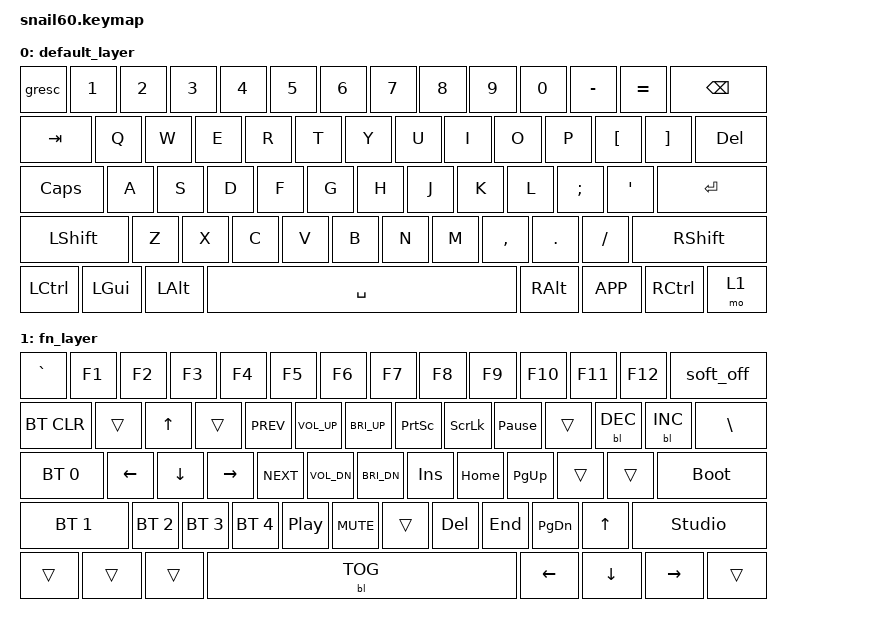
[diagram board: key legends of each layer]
/*
 * Copyright (c) 2021 Nick Winans
 *
 * SPDX-License-Identifier: MIT
 */

#define ZMK_BEHAVIORS_KEEP_ALL

#include <behaviors.dtsi>
#include <dt-bindings/zmk/keys.h>
#include <dt-bindings/zmk/bt.h>
#include <dt-bindings/zmk/backlight.h> // 必须包含这个头灯

/ {
    keymap {
        compatible = "zmk,keymap";
    // 第 0 层：基础层
        default_layer {
            // ------------------------------------------------------------------------------------------
            // | ESC |  1  |  2  |  3  |  4  |  5  |  6  |  7  |  8  |  9  |  0  |  -  |  =  |   BSPC   |
            // | TAB  |  Q  |  W  |  E  |  R  |  T  |  Y  |  U  |  I  |  O  |  P  |  [  |  ]  |   "|"   |
            // | CAPS  |  A  |  S  |  D  |  F  |  G  |  H  |  J  |  K  |  L  |  ;  |  '  |     ENTER    |
            // |  SHIFT  |  Z  |  X  |  C  |  V  |  B  |  N  |  M  |  ,  |  .  |  /  |      SHIFT       |
            // |  CTL  |  WIN  |  ALT  |            SPACE              |  ALT  |  MENU |  CTL |  MO(1)  |
            // ------------------------------------------------------------------------------------------
            bindings = <
                &gresc    &kp N1   &kp N2   &kp N3 &kp N4 &kp N5 &kp N6 &kp N7 &kp N8    &kp N9   &kp N0   &kp MINUS &kp EQUAL &kp BSPC
                &kp TAB   &kp Q    &kp W    &kp E  &kp R  &kp T  &kp Y  &kp U  &kp I     &kp O    &kp P    &kp LBKT  &kp RBKT  &kp DEL 
                &kp CLCK  &kp A    &kp S    &kp D  &kp F  &kp G  &kp H  &kp J  &kp K     &kp L    &kp SEMI &kp SQT             &kp RET
                &kp LSHFT &kp Z    &kp X    &kp C  &kp V  &kp B  &kp N  &kp M  &kp COMMA &kp DOT  &kp FSLH                     &kp RSHFT
                &kp LCTRL &kp LGUI &kp LALT             &kp SPACE                        &kp RALT &kp K_APP          &kp RCTRL &mo 1
            >;
        };

        // 第 1 层：Fn 功能层
        fn_layer {
            // ------------------------------------------------------------------------------------------------
            // |  ` ~   |  F1  |  F2  |  F3  |  F4  |  F5  |  F6  |  F7  |  F8  |  F9  |  F10 |  F11 |  F12 | SOFT OFF |
            // | BT CLR |      |  UP  |      | PREV | VOL+ | BRI+ |PSCRN | SLCK |PAUSE |      |      |      | "|"      |
            // | BTSEL0 | LEFT | DOWN | RIGHT| NEXT | VOL- | BRI- | INS  | HOME | PGUP |      |      |      | BOOTLOAD |
            // | BTSEL1 | BTSEL2| BTSEL3| BTSEL4| PLAY | MUTE |      | DEL  | END  | PGDN |  UP  |      |      | UNLOCK   |
            // |        |      |      |             BACKLIGHT CYCLE                | LEFT | DOWN | RIGHT|      |
            // ------------------------------------------------------------------------------------------------
            bindings = <
                &kp GRAVE    &kp F1       &kp F2       &kp F3       &kp F4       &kp F5     &kp F6       &kp F7    &kp F8   &kp F9          &kp F10 &kp F11    &kp F12    &soft_off
                &bt BT_CLR   &trans       &kp UP       &trans       &kp C_PREV   &kp C_VOL_UP &kp C_BRI_UP &kp PSCRN &kp SLCK &kp PAUSE_BREAK &trans  &bl BL_DEC &bl BL_INC &kp BSLH
                &bt BT_SEL 0 &kp LEFT     &kp DOWN     &kp RIGHT    &kp C_NEXT   &kp C_VOL_DN &kp C_BRI_DN &kp INS   &kp HOME &kp PG_UP       &trans  &trans                &bootloader
                &bt BT_SEL 1 &bt BT_SEL 2 &bt BT_SEL 3 &bt BT_SEL 4 &kp C_PP     &kp C_MUTE   &trans       &kp DEL   &kp END  &kp PG_DN       &kp UP                        &studio_unlock
                &trans       &trans       &trans                                 &bl BL_TOG                                 &kp LEFT        &kp DOWN           &kp RIGHT  &trans
            >;
        };
    };
};
